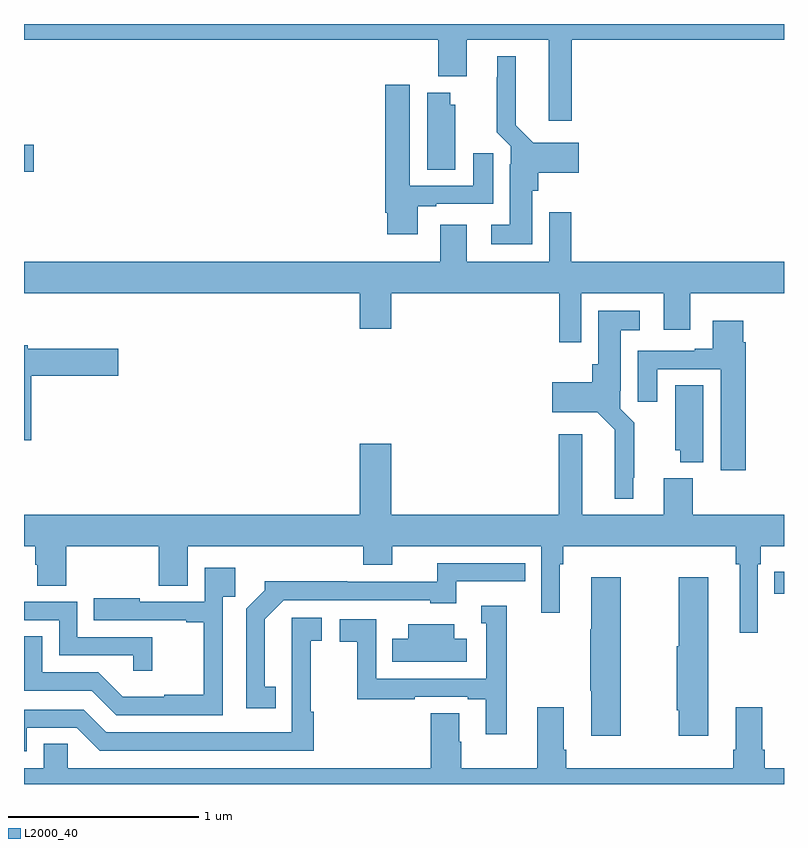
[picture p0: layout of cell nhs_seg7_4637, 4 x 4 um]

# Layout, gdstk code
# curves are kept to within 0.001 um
import gdstk
lib = gdstk.Library(unit=1e-6, precision=1e-09)
def R(c, l, rs):  # rectangles x0, y0, x1, y1
    for r in rs: c.add(gdstk.rectangle(r[:2], r[2:], *l))
def P(c, l, *ps):  # polygons
    for p in ps: c.add(gdstk.Polygon(p, *l))
L2000_40 = (2000, 40)

nhs_seg7_4637 = lib.new_cell('nhs_seg7_4637')
R(nhs_seg7_4637, L2000_40, [(406.948,1031.002,407,1031.118), (403,1033.222,403.051,1033.364)])
P(nhs_seg7_4637, L2000_40, [(405.884,1033.916),(407,1033.916),(407,1034),(403,1034),(403,1033.916),(405.179,1033.916),(405.179,1033.724),(405.331,1033.724),(405.331,1033.916),(405.761,1033.916),(405.761,1033.491),(405.884,1033.491)],
  [(405.676,1033.122),(405.707,1033.122),(405.707,1033.217),(405.919,1033.217),(405.919,1033.375),(405.681,1033.375),(405.589,1033.468),(405.589,1033.831),(405.491,1033.831),(405.491,1033.721),(405.487,1033.721),(405.487,1033.43),(405.561,1033.356),(405.561,1033.262),(405.557,1033.262),(405.557,1032.943),(405.459,1032.943),(405.459,1032.842),(405.676,1032.842)],
  [(405.073,1033.041),(405.169,1033.041),(405.169,1033.053),(405.469,1033.053),(405.469,1033.321),(405.365,1033.321),(405.365,1033.149),(405.031,1033.149),(405.031,1033.68),(404.9,1033.68),(404.9,1033.006),(404.912,1033.006),(404.912,1032.894),(405.073,1032.894)],
  [(405.271,1033.575),(405.244,1033.575),(405.244,1033.639),(405.122,1033.639),(405.122,1033.234),(405.271,1033.234)],
  [(405.933,1032.584),(406.367,1032.584),(406.367,1032.39),(406.507,1032.39),(406.507,1032.584),(407,1032.584),(407,1032.748),(405.881,1032.748),(405.881,1033.009),(405.765,1033.009),(405.765,1032.748),(405.331,1032.748),(405.331,1032.943),(405.191,1032.943),(405.191,1032.748),(403,1032.748),(403,1032.584),(404.768,1032.584),(404.768,1032.396),(404.932,1032.396),(404.932,1032.584),(405.817,1032.584),(405.817,1032.324),(405.933,1032.324)],
  [(406.207,1031.611),(406.211,1031.611),(406.211,1031.902),(406.137,1031.976),(406.137,1032.07),(406.141,1032.07),(406.141,1032.389),(406.24,1032.389),(406.24,1032.49),(406.022,1032.49),(406.022,1032.21),(405.992,1032.21),(405.992,1032.115),(405.78,1032.115),(405.78,1031.957),(406.017,1031.957),(406.11,1031.864),(406.109,1031.501),(406.207,1031.501)],
  [(406.799,1032.326),(406.786,1032.326),(406.786,1032.439),(406.625,1032.439),(406.625,1032.292),(406.529,1032.292),(406.529,1032.279),(406.229,1032.279),(406.229,1032.012),(406.333,1032.012),(406.333,1032.183),(406.667,1032.183),(406.667,1031.652),(406.799,1031.652)],
  [(403.037,1032.149),(403.495,1032.149),(403.495,1032.291),(403.02,1032.291),(403.02,1032.309),(403,1032.309),(403,1031.81),(403.037,1031.81)],
  [(406.576,1032.098),(406.427,1032.098),(406.427,1031.757),(406.454,1031.757),(406.454,1031.693),(406.576,1031.693)],
  [(406.863,1031.156),(406.877,1031.156),(406.877,1031.252),(407,1031.252),(407,1031.416),(406.52,1031.416),(406.52,1031.608),(406.367,1031.608),(406.367,1031.416),(405.937,1031.416),(405.937,1031.842),(405.815,1031.842),(405.815,1031.416),(404.932,1031.416),(404.932,1031.791),(404.768,1031.791),(404.768,1031.416),(403,1031.416),(403,1031.252),(403.058,1031.252),(403.058,1031.154),(403.07,1031.154),(403.07,1031.044),(403.223,1031.044),(403.223,1031.252),(403.709,1031.252),(403.709,1031.044),(403.861,1031.044),(403.861,1031.252),(404.786,1031.252),(404.786,1031.153),(404.938,1031.153),(404.938,1031.252),(405.723,1031.252),(405.723,1030.902),(405.82,1030.902),(405.82,1031.156),(405.839,1031.156),(405.839,1031.252),(406.747,1031.252),(406.747,1031.156),(406.766,1031.156),(406.766,1030.797),(406.863,1030.797)],
  [(404.324,1030.511),(404.266,1030.511),(404.266,1030.867),(404.367,1030.968),(405.138,1030.968),(405.138,1030.952),(405.274,1030.952),(405.274,1031.067),(405.638,1031.067),(405.638,1031.163),(405.175,1031.163),(405.175,1031.064),(404.702,1031.064),(404.702,1031.066),(404.268,1031.066),(404.268,1031.021),(404.169,1030.922),(404.169,1030.398),(404.324,1030.398)],
  [(404.046,1030.985),(404.111,1030.985),(404.111,1031.137),(403.95,1031.137),(403.95,1030.959),(403.609,1030.959),(403.609,1030.978),(403.366,1030.978),(403.366,1030.863),(403.853,1030.863),(403.853,1030.851),(403.945,1030.851),(403.945,1030.471),(403.739,1030.471),(403.739,1030.459),(403.52,1030.459),(403.392,1030.587),(403.096,1030.587),(403.096,1030.778),(403,1030.778),(403,1030.491),(403.356,1030.491),(403.485,1030.362),(404.046,1030.362)],
  [(406.6,1031.089),(406.447,1031.089),(406.447,1030.725),(406.436,1030.725),(406.436,1030.389),(406.447,1030.389),(406.447,1030.254),(406.6,1030.254)],
  [(406.14,1031.089),(405.986,1031.089),(405.986,1030.814),(405.979,1030.814),(405.979,1030.492),(405.986,1030.492),(405.986,1030.254),(406.14,1030.254)],
  [(403.676,1030.773),(403.281,1030.773),(403.281,1030.959),(403,1030.959),(403,1030.863),(403.185,1030.863),(403.185,1030.677),(403.575,1030.677),(403.575,1030.596),(403.676,1030.596)],
  [(405.541,1030.939),(405.407,1030.939),(405.407,1030.845),(405.432,1030.845),(405.432,1030.554),(404.853,1030.554),(404.853,1030.866),(404.661,1030.866),(404.661,1030.75),(404.755,1030.75),(404.755,1030.446),(405.056,1030.446),(405.056,1030.458),(405.335,1030.458),(405.335,1030.446),(405.431,1030.446),(405.431,1030.263),(405.541,1030.263)],
  [(403.014,1030.296),(403.278,1030.296),(403.398,1030.176),(404.525,1030.176),(404.525,1030.379),(404.508,1030.379),(404.508,1030.755),(404.566,1030.755),(404.566,1030.876),(404.408,1030.876),(404.409,1030.272),(403.434,1030.272),(403.314,1030.392),(403,1030.392),(403,1030.173),(403.014,1030.173)],
  [(405.331,1030.765),(405.265,1030.765),(405.265,1030.84),(405.023,1030.84),(405.023,1030.765),(404.938,1030.765),(404.938,1030.643),(405.331,1030.643)],
  [(407,1030.084),(406.898,1030.084),(406.898,1030.18),(406.885,1030.18),(406.885,1030.405),(406.745,1030.405),(406.745,1030.18),(406.733,1030.18),(406.733,1030.084),(405.854,1030.084),(405.854,1030.18),(405.841,1030.18),(405.841,1030.405),(405.701,1030.405),(405.701,1030.084),(405.3,1030.084),(405.3,1030.223),(405.292,1030.223),(405.292,1030.373),(405.14,1030.373),(405.14,1030.084),(403.23,1030.084),(403.23,1030.211),(403.103,1030.211),(403.103,1030.084),(403,1030.084),(403,1030),(407,1030)])

lib.write_gds('nhs_seg7_4637.gds')
